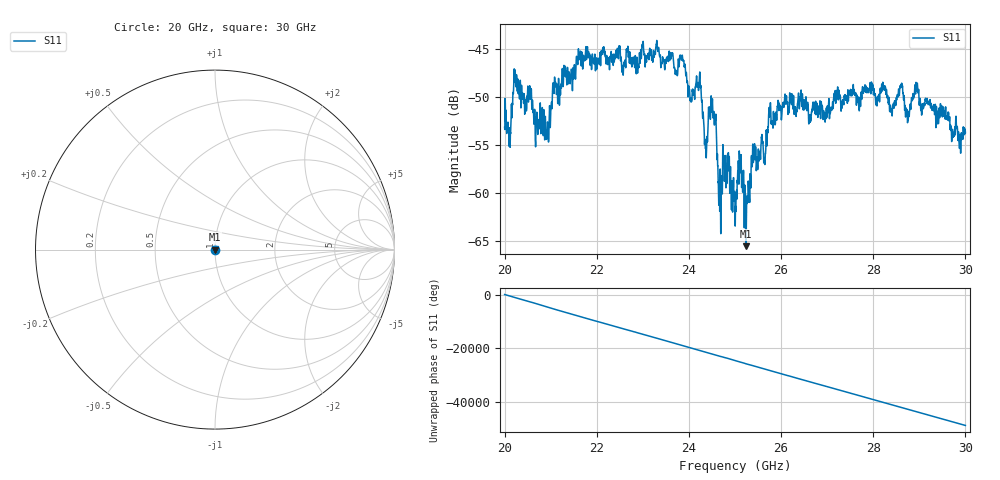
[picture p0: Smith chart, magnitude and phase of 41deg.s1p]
#  HZ  S  RI  R  50.00
! Rohde & Schwarz ZVA40 4Ports - Version 3.90 - 1145.1110k42 SN: 100403
! Date: 2023-10-03 10:41:51
! Measurement: S12
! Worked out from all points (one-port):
!   5001 points, 20 GHz to 30 GHz, reference 50 ohm
!   lowest |S11| = -65.6 dB at 25.24 GHz (marker M1), VSWR 1.00, Z = 50 + j0.0495 ohm
!   |S11| at or under -10 dB: start of sweep to end of sweep
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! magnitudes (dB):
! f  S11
! 20 GHz  -53.2
! 20.09 GHz  -53.8
! 20.24 GHz  -48.9
! 20.91 GHz  -54.3
! 21.07 GHz  -49.6
! 21.25 GHz  -47.1
! 22.5 GHz  -45.0
! 23.75 GHz  -47.7
! 24.21 GHz  -49.2
! 24.37 GHz  -55.1
! 24.53 GHz  -51.8
! 24.68 GHz  -58.3
! 24.83 GHz  -57.3
! 25 GHz  -61.1
! 25.11 GHz  -56.1
! 25.24 GHz  -65.6
! 25.4 GHz  -56.6
! 25.65 GHz  -57.1
! 25.75 GHz  -52.0
! 26.25 GHz  -50.3
! 26.95 GHz  -52.2
! 27.5 GHz  -49.4
! 28.23 GHz  -49.0
! 28.4 GHz  -51.3
! 28.6 GHz  -49.0
! 28.75 GHz  -52.5
! 28.94 GHz  -49.3
! 30 GHz  -53.7
